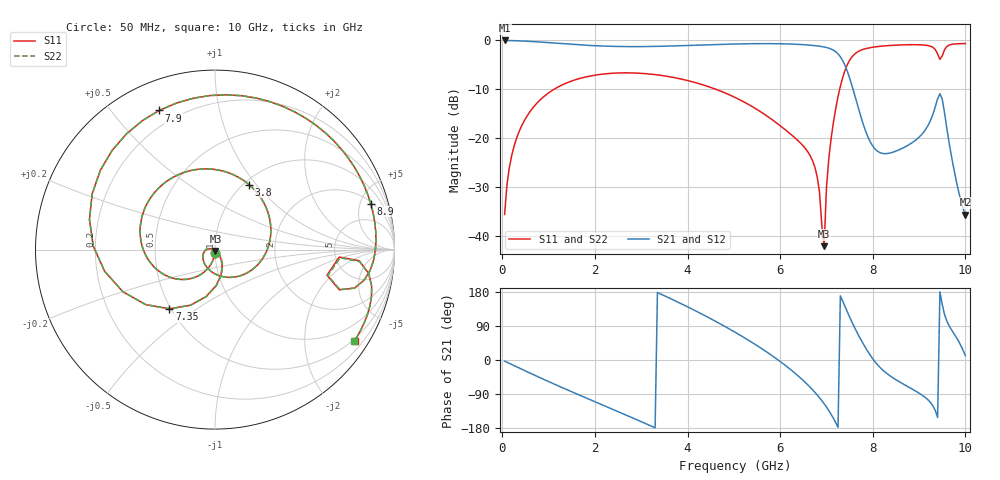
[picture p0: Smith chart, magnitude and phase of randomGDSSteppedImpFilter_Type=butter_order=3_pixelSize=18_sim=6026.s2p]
! freq	dB(S11)	phase(S11)	dB(S12)	phase(S12)
!  dB(S21)	phase(S21)	dB(S22)	phase(S22)
!S-par simulation data
#  GHz  S  DB  R 50
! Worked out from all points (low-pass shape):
!   200 points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, 50 MHz to 10 GHz, reference 50 ohm
!   highest |S21| = -0.01 dB at 50 MHz (marker M1); lowest = -35.6 dB at 10 GHz (marker M2)
!   |S21| within 3 dB of the highest: start of sweep to 7.271 GHz
!   lowest |S11| = -42.1 dB at 6.95 GHz (marker M3), VSWR 1.02, Z = 50.3 - j0.74 ohm
!   |S11| at or under -10 dB: start of sweep to 1.117 GHz; 4.614 GHz to 7.286 GHz (2.672 GHz wide, 44.9 % of centre)
!   |S22| runs from -43.9 to -0.6 dB; largest |S21 - S12| = 0
!   S11 on the Smith chart (normalised r, x): 50 MHz: 1.00, -0.03; 3.8 GHz: 1.06, +0.92; 7.35 GHz: 0.49, -0.39; 7.9 GHz: 0.13, +0.67; 8.9 GHz: 2.19, +6.17; 10 GHz: 0.45, -3.31
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0.05  -35.60 -92.6  -0.01 -3.0  -0.01 -3.0  -35.60 -92.6
0.2  -23.68 -102.0  -0.04 -11.7  -0.04 -11.7  -23.68 -102.0
0.5  -16.01 -119.5  -0.15 -28.9  -0.15 -28.9  -16.01 -119.5
1.75  -7.59 172.3  -0.96 -97.0  -0.96 -97.0  -7.59 172.4
3.4  -7.12 85.0  -1.20 175.3  -1.20 175.3  -7.11 85.2
3.8  -7.77 62.3  -1.10 152.3  -1.10 152.3  -7.77 62.5
4.5  -9.61 19.7  -0.87 109.0  -0.87 109.0  -9.61 20.0
5.05  -11.77 -16.7  -0.73 71.6  -0.73 71.6  -11.77 -16.5
6  -17.44 -90.7  -0.68 -3.9  -0.68 -3.9  -17.45 -91.0
6.7  -24.61 -170.5  -1.02 -78.6  -1.02 -78.6  -24.60 -173.2
6.85  -31.05 169.5  -1.18 -99.5  -1.18 -99.5  -31.03 163.1
6.95  -42.08 -69.4  -1.35 -115.4  -1.35 -115.4  -43.86 -34.6
7  -30.15 -49.9  -1.45 -124.0  -1.45 -124.0  -30.32 -43.9
7.05  -24.25 -56.8  -1.59 -133.2  -1.59 -133.2  -24.34 -53.9
7.35  -7.61 -127.6  -4.12 155.6  -4.12 155.6  -7.62 -127.5
7.6  -2.86 166.6  -10.86 87.3  -10.86 87.3  -2.86 166.5
7.9  -1.56 111.8  -19.85 21.2  -19.85 21.2  -1.56 111.6
8.35  -1.05 59.8  -23.08 -39.9  -23.08 -39.9  -1.04 59.6
8.9  -0.87 16.4  -20.59 -80.1  -20.59 -80.1  -0.87 16.3
9.45  -3.88 -12.9  -10.91 179.9  -10.91 179.9  -3.80 -12.9
9.65  -0.95 -13.1  -21.01 90.0  -21.01 90.0  -0.94 -13.3
10  -0.64 -33.1  -35.61 11.6  -35.61 11.6  -0.64 -33.3
